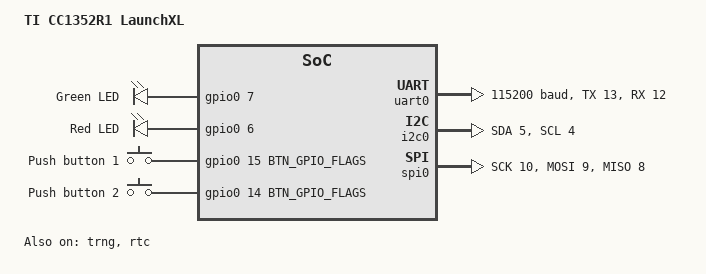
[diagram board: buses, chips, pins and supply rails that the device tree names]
/*
 * Copyright (c) 2019 Brett Witherspoon
 *
 * SPDX-License-Identifier: Apache-2.0
 */

/dts-v1/;

#include <ti/cc1352r.dtsi>
#include "boosterpack_connector.dtsi"

/*
 * Define some constants from driverlib/ioc.h in TI HAL,
 * since we don't have a way to include the file directly.
 */
#define IOC_PORT_MCU_UART0_TX 0x00000010
#define IOC_PORT_MCU_UART0_RX 0x0000000F

#define BTN_GPIO_FLAGS (GPIO_ACTIVE_LOW | GPIO_PULL_UP)

/ {
	model = "TI CC1352R1 LaunchXL";
	compatible = "ti,launchxl-cc1352r1";

	aliases {
		led0 = &led0;
		led1 = &led1;
		sw0 = &btn0;
		sw1 = &btn1;
	};

	chosen {
		zephyr,sram = &sram0;
		zephyr,flash = &flash0;
		zephyr,console = &uart0;
		zephyr,shell-uart = &uart0;
	};

	leds {
		compatible = "gpio-leds";
		led0: led_0 {
			gpios = <&gpio0 7 GPIO_ACTIVE_HIGH>;
			label = "Green LED";
		};
		led1: led_1 {
			gpios = <&gpio0 6 GPIO_ACTIVE_HIGH>;
			label = "Red LED";
		};
	};

	keys {
		compatible = "gpio-keys";
		btn0: btn_0 {
			gpios = <&gpio0 15 BTN_GPIO_FLAGS>;
			label = "Push button 1";
		};
		btn1: btn_1 {
			gpios = <&gpio0 14 BTN_GPIO_FLAGS>;
			label = "Push button 2";
		};
	};
};

&cpu0 {
	clock-frequency = <48000000>;
};

&trng {
	status = "okay";
};

&gpio0 {
	status = "okay";
};

&uart0 {
	status = "okay";
	current-speed = <115200>;
	tx-pin = <13 IOC_PORT_MCU_UART0_TX>;
	rx-pin = <12 IOC_PORT_MCU_UART0_RX>;
};

&i2c0 {
	status = "okay";
	scl-pin = <4>;
	sda-pin = <5>;
};

&spi0 {
	status = "okay";
	sck-pin = <10>;
	mosi-pin = <9>;
	miso-pin = <8>;
	cs-pin = <11>;
	cs-gpios = <&gpio0 11 GPIO_ACTIVE_LOW>;
};

&rtc {
	status = "okay";
};
